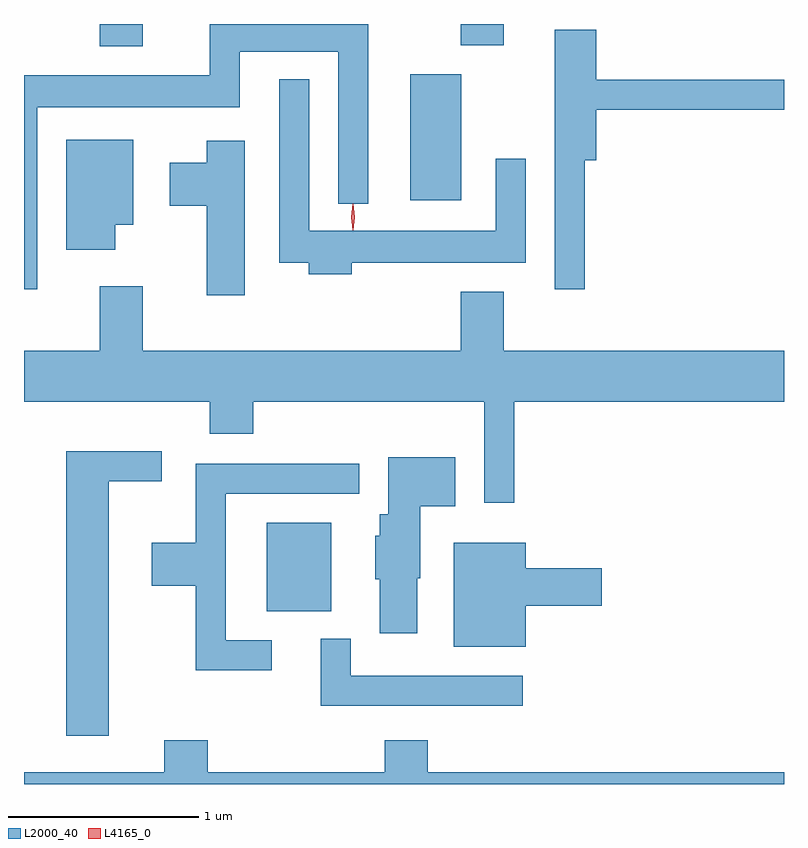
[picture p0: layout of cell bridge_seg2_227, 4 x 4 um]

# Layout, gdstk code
import gdstk
lib = gdstk.Library(unit=1e-6, precision=1e-09)
def R(c, l, rs):  # rectangles x0, y0, x1, y1
    for r in rs: c.add(gdstk.rectangle(r[:2], r[2:], *l))
def P(c, l, *ps):  # polygons
    for p in ps: c.add(gdstk.Polygon(p, *l))
L2000_40 = (2000, 40)
L4165_0 = (4165, 0)

bridge_seg2_227 = lib.new_cell('bridge_seg2_227')
R(bridge_seg2_227, L2000_40, [(583.021,1049.431,583.359,1049.899), (583.776,1051.596,584.044,1052.259), (582.141,1052.406,582.369,1052.523), (584.041,1052.411,584.269,1052.523)])
P(bridge_seg2_227, L2000_40, [(581.814,1052.086),(582.879,1052.086),(582.879,1052.376),(583.396,1052.376),(583.396,1051.578),(583.554,1051.578),(583.554,1052.523),(582.721,1052.523),(582.721,1052.254),(581.743,1052.254),(581.743,1051.128),(581.814,1051.128)],
  [(584.694,1051.806),(584.754,1051.806),(584.754,1052.071),(585.743,1052.071),(585.743,1052.229),(584.754,1052.229),(584.754,1052.494),(584.536,1052.494),(584.536,1051.128),(584.694,1051.128)],
  [(583.469,1051.266),(584.384,1051.266),(584.384,1051.813),(584.226,1051.813),(584.226,1051.434),(583.244,1051.434),(583.244,1052.233),(583.086,1052.233),(583.086,1051.266),(583.241,1051.266),(583.241,1051.206),(583.469,1051.206)],
  [(582.224,1051.466),(582.319,1051.466),(582.319,1051.914),(581.966,1051.914),(581.966,1051.336),(582.224,1051.336)],
  [(582.904,1051.909),(582.706,1051.909),(582.706,1051.794),(582.511,1051.794),(582.511,1051.566),(582.706,1051.566),(582.706,1051.096),(582.904,1051.096)],
  [(584.324,1050.536),(585.743,1050.536),(585.743,1050.804),(584.269,1050.804),(584.269,1051.114),(584.041,1051.114),(584.041,1050.804),(582.369,1050.804),(582.369,1051.144),(582.141,1051.144),(582.141,1050.804),(581.743,1050.804),(581.743,1050.536),(582.721,1050.536),(582.721,1050.366),(582.949,1050.366),(582.949,1050.536),(584.166,1050.536),(584.166,1050.003),(584.324,1050.003)],
  [(582.189,1050.116),(582.468,1050.116),(582.468,1050.274),(581.966,1050.274),(581.966,1048.776),(582.189,1048.776)],
  [(583.814,1049.605),(583.829,1049.605),(583.829,1049.986),(584.014,1049.986),(584.014,1050.244),(583.661,1050.244),(583.661,1049.944),(583.616,1049.944),(583.616,1049.829),(583.591,1049.829),(583.591,1049.601),(583.616,1049.601),(583.616,1049.316),(583.814,1049.316)],
  [(583.048,1049.279),(582.804,1049.279),(582.804,1050.051),(583.508,1050.051),(583.508,1050.209),(582.646,1050.209),(582.646,1049.794),(582.416,1049.794),(582.416,1049.566),(582.646,1049.566),(582.646,1049.121),(583.048,1049.121)],
  [(584.384,1049.461),(584.784,1049.461),(584.784,1049.659),(584.384,1049.659),(584.384,1049.794),(584.006,1049.794),(584.006,1049.246),(584.384,1049.246)],
  [(584.368,1049.094),(583.464,1049.094),(583.464,1049.288),(583.306,1049.288),(583.306,1048.936),(584.368,1048.936)],
  [(585.743,1048.584),(583.869,1048.584),(583.869,1048.754),(583.641,1048.754),(583.641,1048.584),(582.709,1048.584),(582.709,1048.754),(582.481,1048.754),(582.481,1048.584),(581.743,1048.584),(581.743,1048.523),(585.743,1048.523)])
P(bridge_seg2_227, L4165_0, [(583.474,1051.437),(583.465,1051.507),(583.474,1051.576),(583.475,1051.576),(583.476,1051.576),(583.485,1051.507),(583.476,1051.437),(583.475,1051.437)],
  [(583.475,1051.439),(583.474,1051.44),(583.465,1051.506),(583.474,1051.572),(583.475,1051.573),(583.476,1051.572),(583.485,1051.506),(583.476,1051.44)])

lib.write_gds('bridge_seg2_227.gds')
